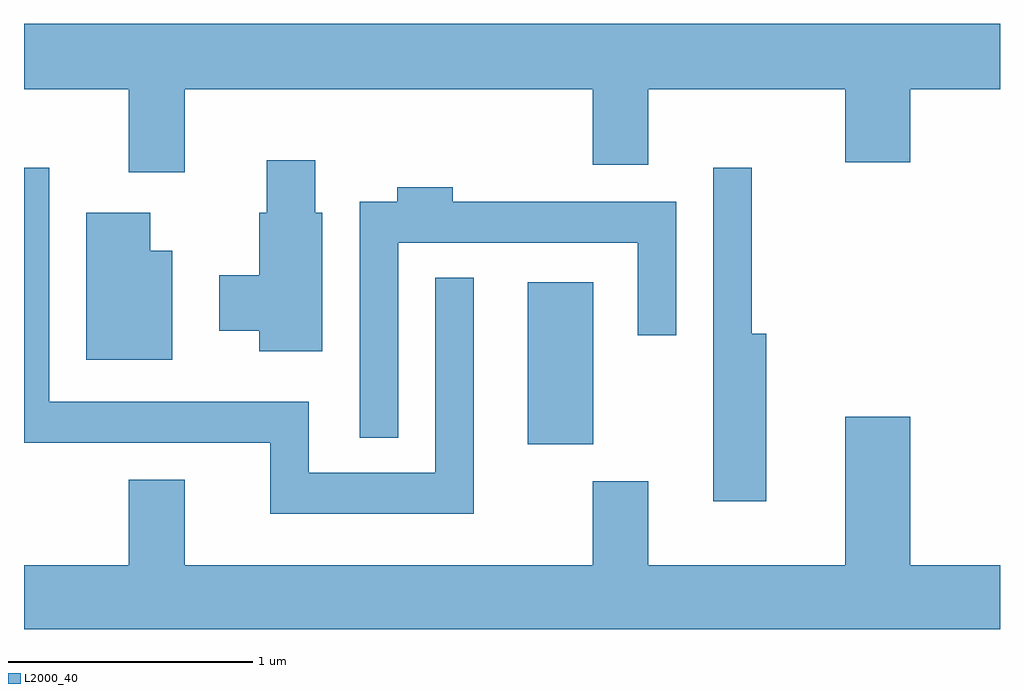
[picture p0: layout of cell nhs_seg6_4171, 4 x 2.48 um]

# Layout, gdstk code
import gdstk
lib = gdstk.Library(unit=1e-6, precision=1e-09)
def R(c, l, rs):  # rectangles x0, y0, x1, y1
    for r in rs: c.add(gdstk.rectangle(r[:2], r[2:], *l))
def P(c, l, *ps):  # polygons
    for p in ps: c.add(gdstk.Polygon(p, *l))
L2000_40 = (2000, 40)

nhs_seg6_4171 = lib.new_cell('nhs_seg6_4171')
R(nhs_seg6_4171, L2000_40, [(313.676,1652.921,313.944,1653.584)])
P(nhs_seg6_4171, L2000_40, [(312.269,1654.376),(313.941,1654.376),(313.941,1654.066),(314.169,1654.066),(314.169,1654.376),(314.976,1654.376),(314.976,1654.076),(315.244,1654.076),(315.244,1654.376),(315.611,1654.376),(315.611,1654.644),(311.611,1654.644),(311.611,1654.376),(312.041,1654.376),(312.041,1654.036),(312.269,1654.036)],
  [(312.834,1653.869),(312.804,1653.869),(312.804,1654.084),(312.606,1654.084),(312.606,1653.869),(312.576,1653.869),(312.576,1653.614),(312.411,1653.614),(312.411,1653.386),(312.576,1653.386),(312.576,1653.301),(312.834,1653.301)],
  [(313.454,1653.603),(313.296,1653.603),(313.296,1652.804),(312.779,1652.804),(312.779,1653.094),(311.714,1653.094),(311.714,1654.053),(311.611,1654.053),(311.611,1652.926),(312.621,1652.926),(312.621,1652.636),(313.454,1652.636)],
  [(314.654,1653.374),(314.594,1653.374),(314.594,1654.053),(314.436,1654.053),(314.436,1652.686),(314.654,1652.686)],
  [(313.144,1653.746),(314.126,1653.746),(314.126,1653.368),(314.284,1653.368),(314.284,1653.914),(313.369,1653.914),(313.369,1653.974),(313.141,1653.974),(313.141,1653.914),(312.986,1653.914),(312.986,1652.948),(313.144,1652.948)],
  [(312.219,1653.714),(312.129,1653.714),(312.129,1653.869),(311.866,1653.869),(311.866,1653.266),(312.219,1653.266)],
  [(311.611,1652.162),(315.611,1652.162),(315.611,1652.424),(315.244,1652.424),(315.244,1653.034),(314.976,1653.034),(314.976,1652.424),(314.169,1652.424),(314.169,1652.769),(313.941,1652.769),(313.941,1652.424),(312.269,1652.424),(312.269,1652.774),(312.041,1652.774),(312.041,1652.424),(311.611,1652.424)])

lib.write_gds('nhs_seg6_4171.gds')
